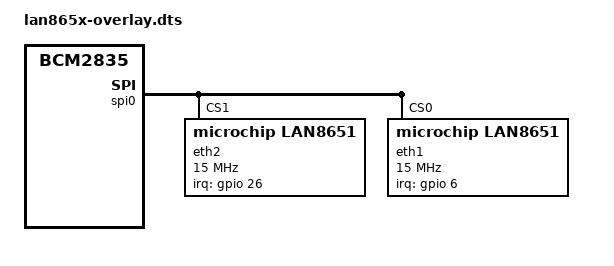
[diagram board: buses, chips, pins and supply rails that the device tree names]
// Overlay for the Microchip LAN865X Ethernet Controller
/dts-v1/;
/plugin/;

/ {
	compatible = "brcm,bcm2835";

	fragment@0 {
		target = <&spi0>;
		__overlay__ {
			/* needed to avoid dtc warning */
			#address-cells = <1>;
			#size-cells = <0>;

			status = "okay";

		/* Settings for the lan865x click board connected with Mikro Bus 2 */
		eth2: lan865x@1{
				compatible = "microchip,lan8651", "microchip,lan8650";
				reg = <1>; /* CE1 */
				pinctrl-names = "default";
				pinctrl-0 = <&eth2_pins>;
				interrupt-parent = <&gpio>;
				interrupts = <26 0x2>; /* 0x2 - falling edge trigger */
				local-mac-address = [14 15 16 11 12 13];
				spi-max-frequency = <15000000>;
				status = "okay";
			};
		/* Settings for the lan865x click board connected with Mikro Bus 1 */
		eth1: lan865x@0{
				compatible = "microchip,lan8651", "microchip,lan8650";
				reg = <0>; /* CE0 */
				pinctrl-names = "default";
				pinctrl-0 = <&eth1_pins>;
				interrupt-parent = <&gpio>;
				interrupts = <6 0x2>; /* 0x2 - falling edge trigger */
				local-mac-address = [04 05 06 01 02 03];
				spi-max-frequency = <15000000>;
				status = "okay";
			};
		};
	};

	fragment@1 {
		target = <&spidev0>;
		__overlay__ {
			status = "disabled";
		};
	};

	fragment@2 {
		target = <&gpio>;
		__overlay__ {
			eth1_pins: eth1_pins {
				brcm,pins = <6>;
				brcm,function = <0>; /* in */
				brcm,pull = <0>; /* none */
			};
			eth2_pins: eth2_pins {
				brcm,pins = <26>;
				brcm,function = <0>; /* in */
				brcm,pull = <0>; /* none */
			};
		};
	};

	__overrides__ {
		int_pin_1 = <&eth1>, "interrupts:0",
		          <&eth1_pins>, "brcm,pins:0";
		speed_1   = <&eth1>, "spi-max-frequency:0";
		int_pin_2 = <&eth2>, "interrupts:0",
		          <&eth2_pins>, "brcm,pins:0";
		speed_2   = <&eth2>, "spi-max-frequency:0";
	};
};
